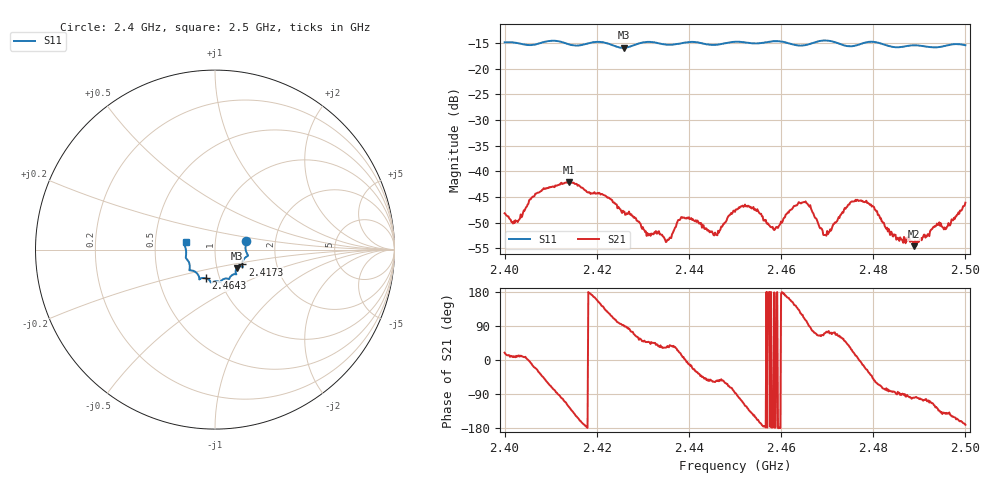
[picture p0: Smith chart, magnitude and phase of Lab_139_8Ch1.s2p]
# Hz S RI R 50
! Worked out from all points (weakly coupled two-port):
!   601 points, 2.4 GHz to 2.5 GHz, reference 50 ohm
!   highest |S21| = -42.03 dB at 2.414 GHz (marker M1); lowest = -54.6 dB at 2.4888 GHz (marker M2)
!   lowest |S11| = -15.9 dB at 2.4258 GHz (marker M3), VSWR 1.38, Z = 62.2 - j13.3 ohm
!   |S11| at or under -10 dB: start of sweep to end of sweep
!   S12 and S22 are empty: the file has one direction only
!   S11 on the Smith chart (normalised r, x): 2.4 GHz: 1.41, +0.14; 2.4173 GHz: 1.34, -0.23; 2.4643 GHz: 0.86, -0.28; 2.5 GHz: 0.72, +0.06
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2.4e9  0.1736 0.0491  0.00369 0.00129  0 0  0 0
2.402667e9  0.1741 0.0371  0.00324 0.000485  0 0  0 0
2.407167e9  0.1741 -0.0124  0.0055 -0.00288  0 0  0 0
2.414e9  0.1658 -0.0472  -0.00447 -0.00653  0 0  0 0
2.416667e9  0.1525 -0.0751  -0.00667 -0.00189  0 0  0 0
2.417333e9  0.1519 -0.0824  -0.00653 -0.00105  0 0  0 0
2.425833e9  0.1214 -0.1038  -0.000117 0.00402  0 0  0 0
2.433333e9  0.1129 -0.1366  0.00209 0.00155  0 0  0 0
2.4355e9  0.0976 -0.1403  0.00177 0.00123  0 0  0 0
2.438833e9  0.081 -0.1591  0.00353 0.000466  0 0  0 0
2.445667e9  0.0499 -0.1632  0.00134 -0.00216  0 0  0 0
2.45e9  0.0296 -0.1806  0.000204 -0.00403  0 0  0 0
2.4535e9  0.0141 -0.1765  -0.00335 -0.00298  0 0  0 0
2.458833e9  -0.0215 -0.1844  -0.00283 -0.000124  0 0  0 0
2.464333e9  -0.0502 -0.1601  -0.00262 0.00413  0 0  0 0
2.466667e9  -0.0762 -0.1595  0.000814 0.00408  0 0  0 0
2.469667e9  -0.0874 -0.1668  0.000727 0.00229  0 0  0 0
2.475e9  -0.1065 -0.1264  0.00416 0.00271  0 0  0 0
2.478e9  -0.1355 -0.1162  0.00483 -0.00146  0 0  0 0
2.483333e9  -0.1404 -0.0895  0.000348 -0.00274  0 0  0 0
2.488833e9  -0.1623 -0.0472  -0.000323 -0.00184  0 0  0 0
2.5e9  -0.1639 0.0416  -0.0049 -0.000783  0 0  0 0
